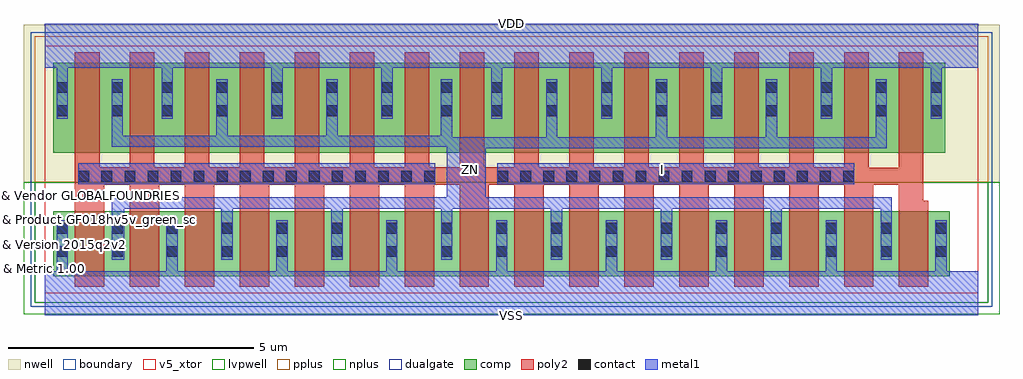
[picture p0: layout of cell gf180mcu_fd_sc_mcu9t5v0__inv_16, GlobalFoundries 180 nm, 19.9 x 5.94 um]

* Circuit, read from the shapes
.subckt gf180mcu_fd_sc_mcu9t5v0__inv_16 I VDD VSS ZN
XM1 ZN I VSS VSUBS nfet_05v0 w=1.32u l=0.6u m=16
XM2 ZN I VDD n1 pfet_05v0 w=1.83u l=0.5u m=16
.ends

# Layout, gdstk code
import gdstk
lib = gdstk.Library(unit=1e-6, precision=1e-09)
def R(c, l, rs):  # rectangles x0, y0, x1, y1
    for r in rs: c.add(gdstk.rectangle(r[:2], r[2:], *l))
def A(c, l, x, y, w, h, nx, ny, dx, dy):  # array of equal rectangles
    R(c, l, [(x+i*dx, y+j*dy, x+i*dx+w, y+j*dy+h) for i in range(nx) for j in range(ny)])
def P(c, l, *ps):  # polygons
    for p in ps: c.add(gdstk.Polygon(p, *l))
boundary = (0, 0)
nwell = (21, 0)
comp = (22, 0)
poly2 = (30, 0)
pplus = (31, 0)
nplus = (32, 0)
contact = (33, 0)
metal1 = (34, 0)
dualgate = (55, 0)
v5_xtor = (112, 1)
lvpwell = (204, 0)

gf180mcu_fd_sc_mcu9t5v0_ = lib.new_cell('gf180mcu_fd_sc_mcu9t5v0__inv_16')
R(gf180mcu_fd_sc_mcu9t5v0_, boundary, [(0,0,19.04,5.04)])
R(gf180mcu_fd_sc_mcu9t5v0_, nwell, [(-0.43,2.265,19.47,5.47)])
R(gf180mcu_fd_sc_mcu9t5v0_, comp, [(0.18,0.345,18.46,1.665), (0.18,2.865,18.36,4.695)])
P(gf180mcu_fd_sc_mcu9t5v0_, poly2, [(0.62,0.125),(0.62,4.915),(1.12,4.915),(1.12,2.565),(1.74,2.565),(1.74,4.915),(2.24,4.915),(2.24,2.565),(2.86,2.565),(2.86,4.915),(3.36,4.915),(3.36,2.565),(3.98,2.565),(3.98,4.915),(4.48,4.915),(4.48,2.565),(5.1,2.565),(5.1,4.915),(5.6,4.915),(5.6,2.565),(6.22,2.565),(6.22,4.915),(6.72,4.915),(6.72,2.565),(7.34,2.565),(7.34,4.915),(7.84,4.915),(7.84,2.565),(8.46,2.565),(8.46,4.915),(8.96,4.915),(8.96,2.565),(9.58,2.565),(9.58,4.915),(10.08,4.915),(10.08,2.565),(10.7,2.565),(10.7,4.915),(11.2,4.915),(11.2,2.565),(11.82,2.565),(11.82,4.915),(12.32,4.915),(12.32,2.565),(12.94,2.565),(12.94,4.915),(13.44,4.915),(13.44,2.565),(14.06,2.565),(14.06,4.915),(14.56,4.915),(14.56,2.565),(15.18,2.565),(15.18,4.915),(15.68,4.915),(15.68,2.565),(16.3,2.565),(16.3,4.915),(16.8,4.915),(16.8,2.56),(17.42,2.56),(17.42,4.915),(17.92,4.915),(17.92,1.885),(18.02,1.885),(18.02,0.125),(17.42,0.125),(17.42,2.205),(16.9,2.205),(16.9,0.125),(16.3,0.125),(16.3,2.205),(15.78,2.205),(15.78,0.125),(15.18,0.125),(15.18,2.205),(14.66,2.205),(14.66,0.125),(14.06,0.125),(14.06,2.205),(13.54,2.205),(13.54,0.125),(12.94,0.125),(12.94,2.205),(12.42,2.205),(12.42,0.125),(11.82,0.125),(11.82,2.205),(11.3,2.205),(11.3,0.125),(10.7,0.125),(10.7,2.205),(10.18,2.205),(10.18,0.125),(9.58,0.125),(9.58,2.205),(9.06,2.205),(9.06,0.125),(8.46,0.125),(8.46,2.205),(7.94,2.205),(7.94,0.125),(7.34,0.125),(7.34,2.205),(6.82,2.205),(6.82,0.125),(6.22,0.125),(6.22,2.205),(5.7,2.205),(5.7,0.125),(5.1,0.125),(5.1,2.205),(4.58,2.205),(4.58,0.125),(3.98,0.125),(3.98,2.205),(3.46,2.205),(3.46,0.125),(2.86,0.125),(2.86,2.205),(2.34,2.205),(2.34,0.125),(1.74,0.125),(1.74,2.205),(1.22,2.205),(1.22,0.125)])
R(gf180mcu_fd_sc_mcu9t5v0_, pplus, [(-0.2,2.265,19.24,5.24)])
R(gf180mcu_fd_sc_mcu9t5v0_, nplus, [(-0.2,-0.2,19.24,2.265)])
A(gf180mcu_fd_sc_mcu9t5v0_, contact, 0.25, 0.74, 0.22, 0.22, 17, 2, 1.12, 0.47)
A(gf180mcu_fd_sc_mcu9t5v0_, contact, 0.69, 2.275, 0.22, 0.22, 16, 1, 0.47, 0)
A(gf180mcu_fd_sc_mcu9t5v0_, contact, 9.23, 2.275, 0.22, 0.22, 16, 1, 0.47, 0)
A(gf180mcu_fd_sc_mcu9t5v0_, contact, 2.39, 3.61, 0.22, 0.22, 5, 2, 1.12, 0.47)
A(gf180mcu_fd_sc_mcu9t5v0_, contact, 9.11, 3.61, 0.22, 0.22, 9, 2, 1.12, 0.47)
R(gf180mcu_fd_sc_mcu9t5v0_, contact, [(0.25,3.61,0.47,3.83), (1.37,3.61,1.59,3.83), (8.085,3.61,8.305,3.83), (0.25,4.08,0.47,4.3), (1.37,4.08,1.59,4.3), (8.085,4.08,8.305,4.3)])
R(gf180mcu_fd_sc_mcu9t5v0_, metal1, [(0.685,2.215,7.965,2.65), (9.225,2.215,16.505,2.65)])
P(gf180mcu_fd_sc_mcu9t5v0_, metal1, [(1.365,0.68),(1.365,1.95),(8.195,1.95),(8.195,2.98),(1.365,2.98),(1.365,4.36),(1.595,4.36),(1.595,3.21),(3.505,3.21),(3.505,4.36),(3.735,4.36),(3.735,3.21),(5.745,3.21),(5.745,4.36),(5.975,4.36),(5.975,3.21),(8.08,3.21),(8.08,4.36),(8.31,4.36),(8.31,3.18),(10.225,3.18),(10.225,4.36),(10.455,4.36),(10.455,3.18),(12.465,3.18),(12.465,4.36),(12.695,4.36),(12.695,3.18),(14.705,3.18),(14.705,4.36),(14.935,4.36),(14.935,3.18),(16.945,3.18),(16.945,4.36),(17.175,4.36),(17.175,2.95),(8.995,2.95),(8.995,1.95),(17.275,1.95),(17.275,0.68),(17.045,0.68),(17.045,1.72),(15.035,1.72),(15.035,0.68),(14.805,0.68),(14.805,1.72),(12.795,1.72),(12.795,0.68),(12.565,0.68),(12.565,1.72),(10.555,1.72),(10.555,0.68),(10.325,0.68),(10.325,1.72),(8.315,1.72),(8.315,0.68),(8.085,0.68),(8.085,1.72),(6.075,1.72),(6.075,0.68),(5.845,0.68),(5.845,1.72),(3.835,1.72),(3.835,0.68),(3.605,0.68),(3.605,1.72),(1.625,1.72),(1.625,0.68)],
  [(0,-0.45),(0,0.45),(0.245,0.45),(0.245,1.49),(0.475,1.49),(0.475,0.45),(2.485,0.45),(2.485,1.49),(2.715,1.49),(2.715,0.45),(4.725,0.45),(4.725,1.49),(4.955,1.49),(4.955,0.45),(6.965,0.45),(6.965,1.49),(7.195,1.49),(7.195,0.45),(9.205,0.45),(9.205,1.49),(9.435,1.49),(9.435,0.45),(11.445,0.45),(11.445,1.49),(11.675,1.49),(11.675,0.45),(13.685,0.45),(13.685,1.49),(13.915,1.49),(13.915,0.45),(15.925,0.45),(15.925,1.49),(16.155,1.49),(16.155,0.45),(18.165,0.45),(18.165,1.49),(18.395,1.49),(18.395,0.45),(19.04,0.45),(19.04,-0.45)],
  [(0.245,3.55),(0.245,4.59),(0,4.59),(0,5.49),(19.04,5.49),(19.04,4.59),(18.295,4.59),(18.295,3.55),(18.065,3.55),(18.065,4.59),(16.055,4.59),(16.055,3.55),(15.825,3.55),(15.825,4.59),(13.815,4.59),(13.815,3.55),(13.585,3.55),(13.585,4.59),(11.575,4.59),(11.575,3.55),(11.345,3.55),(11.345,4.59),(9.335,4.59),(9.335,3.55),(9.105,3.55),(9.105,4.59),(7.095,4.59),(7.095,3.55),(6.865,3.55),(6.865,4.59),(4.855,4.59),(4.855,3.55),(4.625,3.55),(4.625,4.59),(2.615,4.59),(2.615,3.55),(2.385,3.55),(2.385,4.59),(0.475,4.59),(0.475,3.55)])
R(gf180mcu_fd_sc_mcu9t5v0_, dualgate, [(-0.28,-0.28,19.32,5.32)])
R(gf180mcu_fd_sc_mcu9t5v0_, v5_xtor, [(0,0,19.04,5.04)])
R(gf180mcu_fd_sc_mcu9t5v0_, lvpwell, [(-0.43,-0.43,19.47,2.265)])
gf180mcu_fd_sc_mcu9t5v0_.add(gdstk.Label('I', (12.6,2.52), layer=34, texttype=10))
gf180mcu_fd_sc_mcu9t5v0_.add(gdstk.Label('VDD', (9.52,5.49), layer=34, texttype=10))
gf180mcu_fd_sc_mcu9t5v0_.add(gdstk.Label('VSS', (9.52,-0.45), layer=34, texttype=10))
gf180mcu_fd_sc_mcu9t5v0_.add(gdstk.Label('ZN', (8.68,2.52), layer=34, texttype=10))
gf180mcu_fd_sc_mcu9t5v0_.add(gdstk.Label('& Vendor GLOBALFOUNDRIES', (0,2), layer=63, texttype=63))
gf180mcu_fd_sc_mcu9t5v0_.add(gdstk.Label('& Product GF018hv5v_green_sc9', (0,1.5), layer=63, texttype=63))
gf180mcu_fd_sc_mcu9t5v0_.add(gdstk.Label('& Version 2015q2v2', (0,1), layer=63, texttype=63))
gf180mcu_fd_sc_mcu9t5v0_.add(gdstk.Label('& Metric 1.00', (0,0.5), layer=63, texttype=63))

lib.write_gds('gf180mcu_fd_sc_mcu9t5v0__inv_16.gds')
